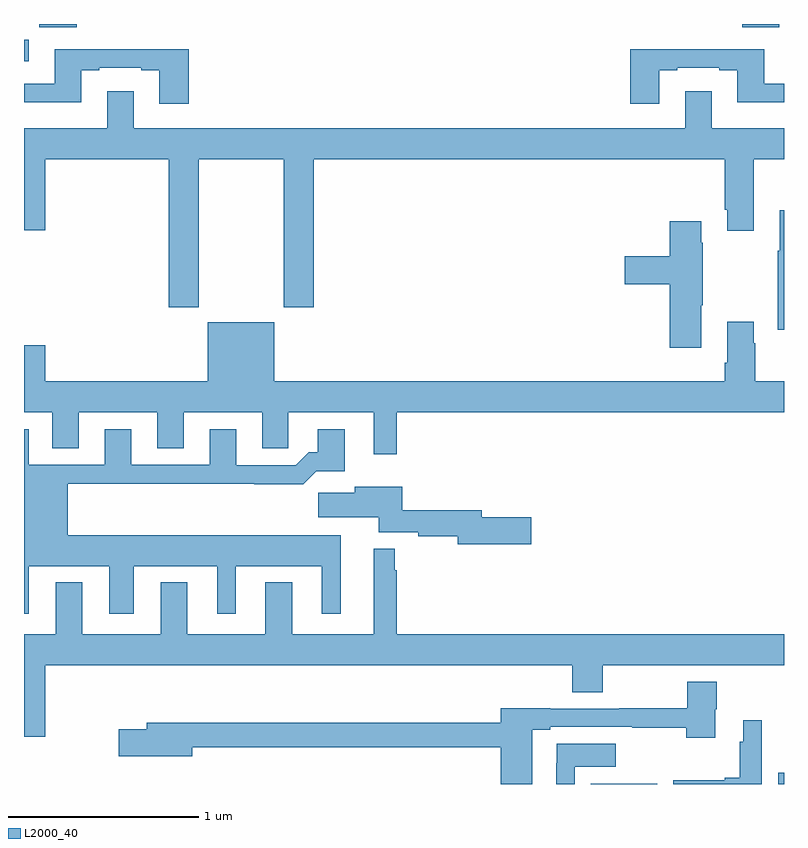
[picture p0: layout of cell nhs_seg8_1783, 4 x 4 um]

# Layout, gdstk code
import gdstk
lib = gdstk.Library(unit=1e-6, precision=1e-09)
def R(c, l, rs):  # rectangles x0, y0, x1, y1
    for r in rs: c.add(gdstk.rectangle(r[:2], r[2:], *l))
def P(c, l, *ps):  # polygons
    for p in ps: c.add(gdstk.Polygon(p, *l))
L2000_40 = (2000, 40)

nhs_seg8_1783 = lib.new_cell('nhs_seg8_1783')
R(nhs_seg8_1783, L2000_40, [(227.983,1091.9,228.333,1091.902), (228.971,1091.9,229,1091.959), (225,1095.705,225.025,1095.818), (225.08,1095.884,225.277,1095.9), (228.779,1095.884,228.976,1095.9)])
P(nhs_seg8_1783, L2000_40, [(225.866,1095.766),(225.161,1095.766),(225.161,1095.585),(225,1095.585),(225,1095.488),(225.301,1095.488),(225.301,1095.657),(225.397,1095.657),(225.397,1095.669),(225.617,1095.669),(225.617,1095.657),(225.713,1095.657),(225.713,1095.48),(225.866,1095.48)],
  [(228.343,1095.657),(228.439,1095.657),(228.439,1095.669),(228.659,1095.669),(228.659,1095.657),(228.755,1095.657),(228.755,1095.488),(229,1095.488),(229,1095.585),(228.895,1095.585),(228.895,1095.766),(228.191,1095.766),(228.191,1095.48),(228.343,1095.48)],
  [(225.921,1095.188),(226.366,1095.188),(226.366,1094.409),(226.526,1094.409),(226.526,1095.188),(228.689,1095.188),(228.689,1094.923),(228.701,1094.923),(228.701,1094.811),(228.841,1094.811),(228.841,1095.188),(229,1095.188),(229,1095.352),(228.619,1095.352),(228.619,1095.547),(228.479,1095.547),(228.479,1095.352),(225.577,1095.352),(225.577,1095.547),(225.437,1095.547),(225.437,1095.352),(225,1095.352),(225,1094.814),(225.112,1094.814),(225.112,1095.188),(225.761,1095.188),(225.761,1094.409),(225.921,1094.409)],
  [(229,1094.92),(228.977,1094.92),(228.977,1094.707),(228.966,1094.707),(228.966,1094.291),(229,1094.291)],
  [(228.565,1094.419),(228.573,1094.419),(228.573,1094.75),(228.565,1094.75),(228.565,1094.863),(228.398,1094.863),(228.398,1094.678),(228.162,1094.678),(228.162,1094.531),(228.398,1094.531),(228.398,1094.196),(228.565,1094.196)],
  [(225.968,1094.329),(225.968,1094.02),(225.112,1094.02),(225.112,1094.209),(225,1094.209),(225,1093.856),(225.149,1093.856),(225.149,1093.666),(225.289,1093.666),(225.289,1093.856),(225.701,1093.856),(225.701,1093.666),(225.841,1093.666),(225.841,1093.856),(226.253,1093.856),(226.253,1093.666),(226.392,1093.666),(226.392,1093.856),(226.841,1093.856),(226.841,1093.635),(226.963,1093.635),(226.963,1093.856),(229,1093.856),(229,1094.02),(228.849,1094.02),(228.849,1094.219),(228.841,1094.219),(228.841,1094.332),(228.701,1094.332),(228.701,1094.116),(228.689,1094.116),(228.689,1094.02),(226.318,1094.02),(226.318,1094.329)],
  [(225.025,1093.046),(225.449,1093.046),(225.449,1092.795),(225.577,1092.795),(225.577,1093.046),(226.016,1093.046),(226.016,1092.795),(226.114,1092.795),(226.114,1093.046),(226.568,1093.046),(226.568,1092.795),(226.666,1092.795),(226.666,1093.21),(225.229,1093.21),(225.229,1093.48),(226.213,1093.48),(226.213,1093.478),(226.469,1093.478),(226.538,1093.547),(226.687,1093.547),(226.687,1093.768),(226.547,1093.768),(226.547,1093.645),(226.498,1093.645),(226.431,1093.578),(226.117,1093.578),(226.117,1093.768),(225.977,1093.768),(225.977,1093.581),(225.565,1093.581),(225.565,1093.768),(225.425,1093.768),(225.425,1093.581),(225.025,1093.581),(225.025,1093.768),(225,1093.768),(225,1092.795),(225.025,1092.795)],
  [(227.671,1093.304),(227.41,1093.304),(227.41,1093.34),(226.991,1093.34),(226.991,1093.465),(226.742,1093.465),(226.742,1093.433),(226.548,1093.433),(226.548,1093.304),(226.868,1093.304),(226.868,1093.224),(227.074,1093.224),(227.074,1093.204),(227.282,1093.204),(227.282,1093.162),(227.671,1093.162)],
  [(225.112,1092.524),(227.885,1092.524),(227.885,1092.382),(228.045,1092.382),(228.045,1092.524),(229,1092.524),(229,1092.688),(226.963,1092.688),(226.963,1093.025),(226.952,1093.025),(226.952,1093.138),(226.841,1093.138),(226.841,1092.688),(226.411,1092.688),(226.411,1092.961),(226.271,1092.961),(226.271,1092.688),(225.859,1092.688),(225.859,1092.961),(225.719,1092.961),(225.719,1092.688),(225.307,1092.688),(225.307,1092.961),(225.167,1092.961),(225.167,1092.688),(225,1092.688),(225,1092.15),(225.112,1092.15)],
  [(227.674,1092.185),(227.77,1092.185),(227.77,1092.201),(228.202,1092.201),(228.202,1092.196),(228.485,1092.196),(228.485,1092.144),(228.637,1092.144),(228.637,1092.294),(228.645,1092.294),(228.645,1092.439),(228.49,1092.439),(228.49,1092.3),(228.133,1092.3),(228.133,1092.297),(227.77,1092.297),(227.77,1092.3),(227.51,1092.3),(227.51,1092.223),(225.647,1092.223),(225.647,1092.189),(225.498,1092.189),(225.498,1092.047),(225.886,1092.047),(225.886,1092.094),(227.51,1092.094),(227.51,1091.9),(227.674,1091.9)],
  [(228.882,1092.013),(228.883,1092.013),(228.883,1092.235),(228.785,1092.235),(228.785,1092.122),(228.766,1092.122),(228.766,1091.932),(228.689,1091.932),(228.689,1091.919),(228.418,1091.919),(228.418,1091.9),(228.882,1091.9)],
  [(227.898,1091.99),(228.115,1091.99),(228.115,1092.111),(227.803,1092.111),(227.803,1092.008),(227.802,1092.008),(227.802,1091.9),(227.898,1091.9)])

lib.write_gds('nhs_seg8_1783.gds')
